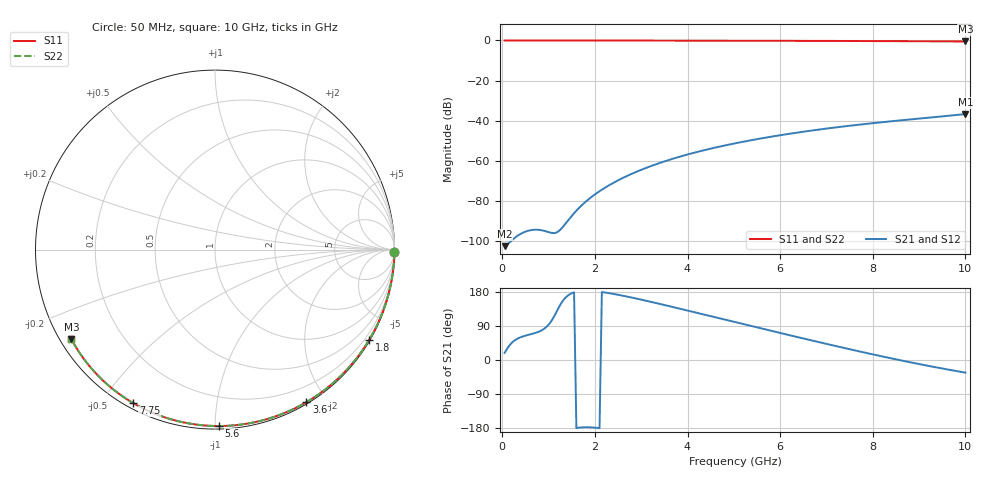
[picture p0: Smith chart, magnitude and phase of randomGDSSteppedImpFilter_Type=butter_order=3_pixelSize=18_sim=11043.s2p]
! freq	dB(S11)	phase(S11)	dB(S12)	phase(S12)
!  dB(S21)	phase(S21)	dB(S22)	phase(S22)
!S-par simulation data
#  GHz  S  DB  R 50
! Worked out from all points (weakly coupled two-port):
!   200 points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, 50 MHz to 10 GHz, reference 50 ohm
!   highest |S21| = -36.66 dB at 10 GHz (marker M1); lowest = -102.4 dB at 50 MHz (marker M2)
!   lowest |S11| = -0.5 dB at 10 GHz (marker M3), VSWR 34.01, Z = 1.59 - j14.3 ohm
!   |S11| at or under -10 dB: nowhere
!   |S22| runs from -0.5 to 0.0 dB; largest |S21 - S12| = 0
!   S11 on the Smith chart (normalised r, x): 50 MHz: open; 1.8 GHz: 0.03, -3.69; 3.6 GHz: 0.02, -1.76; 5.6 GHz: 0.02, -1.02; 7.75 GHz: 0.02, -0.60; 10 GHz: 0.03, -0.29
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0.05  -0.00 -0.9  -102.40 18.7  -102.40 18.7  -0.00 -0.9
0.45  -0.01 -7.7  -95.65 62.4  -95.65 62.4  -0.01 -7.7
0.9  -0.02 -15.3  -94.74 82.1  -94.74 82.1  -0.02 -15.3
1.3  -0.03 -22.0  -93.03 155.0  -93.03 155.0  -0.03 -22.0
1.75  -0.04 -29.5  -81.30 -177.4  -81.30 -177.4  -0.04 -29.5
1.8  -0.04 -30.3  -80.27 -177.3  -80.27 -177.3  -0.04 -30.3
2.15  -0.05 -36.0  -74.29 179.3  -74.29 179.3  -0.05 -36.0
2.5  -0.05 -41.7  -69.63 172.1  -69.63 172.1  -0.05 -41.7
2.9  -0.06 -48.1  -65.34 162.0  -65.34 162.0  -0.06 -48.1
3.4  -0.07 -56.0  -60.98 148.0  -60.98 148.0  -0.07 -56.0
3.6  -0.08 -59.1  -59.47 142.3  -59.47 142.3  -0.08 -59.1
3.9  -0.09 -63.7  -57.40 133.4  -57.40 133.4  -0.09 -63.7
4.3  -0.10 -69.7  -54.96 121.6  -54.96 121.6  -0.10 -69.7
5.05  -0.12 -80.8  -51.10 99.3  -51.10 99.3  -0.12 -80.8
5.6  -0.15 -88.7  -48.72 83.1  -48.72 83.1  -0.15 -88.7
6.15  -0.17 -96.4  -46.63 67.0  -46.63 67.0  -0.17 -96.4
6.7  -0.20 -103.9  -44.78 51.1  -44.78 51.1  -0.20 -103.9
7.2  -0.23 -110.7  -43.28 36.8  -43.28 36.8  -0.23 -110.7
7.75  -0.27 -118.0  -41.80 21.6  -41.80 21.6  -0.27 -118.0
8.35  -0.32 -125.9  -40.34 5.6  -40.34 5.6  -0.32 -125.9
9.2  -0.41 -137.2  -38.45 -15.5  -38.45 -15.5  -0.41 -137.2
10  -0.51 -148.1  -36.66 -33.3  -36.66 -33.3  -0.51 -148.1
